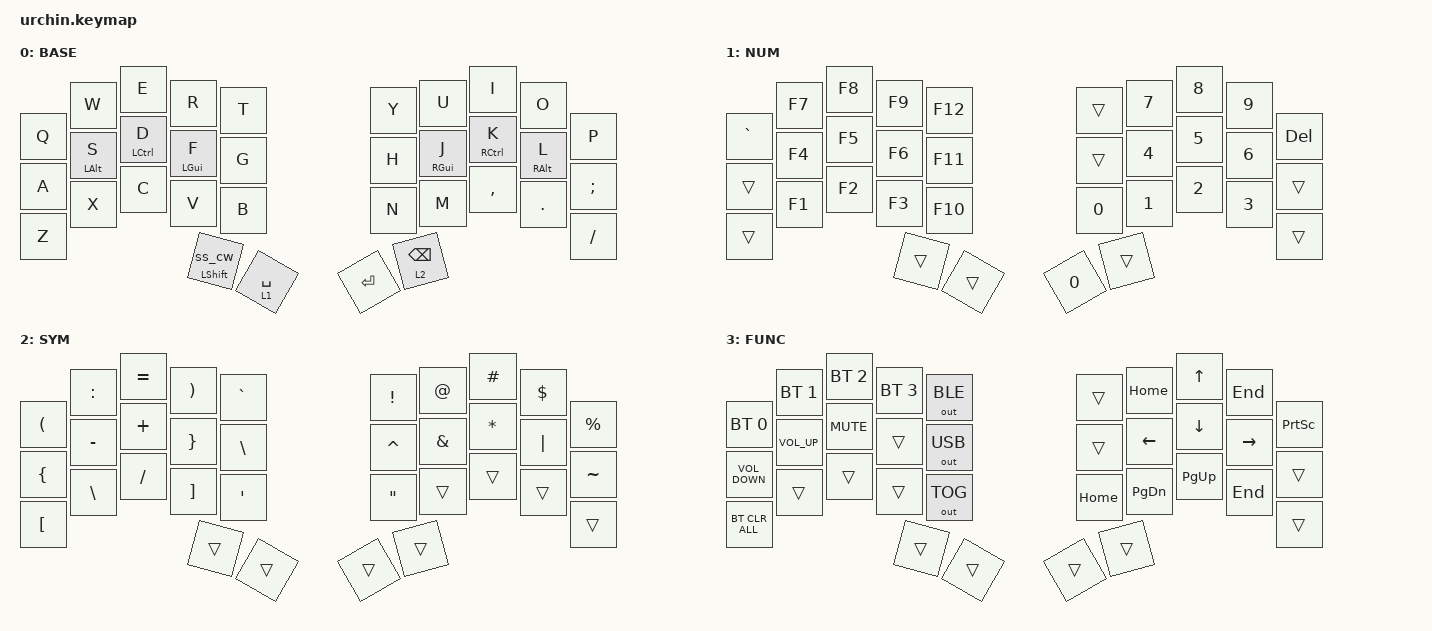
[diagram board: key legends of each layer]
#include <behaviors.dtsi>
#include <dt-bindings/zmk/bt.h>
#include <dt-bindings/zmk/keys.h>
#include <dt-bindings/zmk/outputs.h>

#define BASE 0
#define NAV  1
#define SYM  2
#define ADJ  3

// ─── Key position map ────────────────────────────────────────────────────────
// Row 0: 0   1   2   3   4       5   6   7   8   9
// Row 1: 10  11  12  13  14      15  16  17  18  19
// Row 2: 20  21  22  23  24      25  26  27  28  29
// Row 3:             30  31      32  33
//
// Left-hand keys  (used as hold-trigger for RIGHT homerow mods):

#define LKEYS  0 1 2 3 4 10 11 12 13 14 20 21 22 23 24 30 31

// Right-hand keys (used as hold-trigger for LEFT homerow mods):

#define RKEYS  5 6 7 8 9 15 16 17 18 19 25 26 27 28 29 32 33

&mt {
    quick-tap-ms = <175>;
    require-prior-idle-ms = <150>;
    flavor = "balanced";
    hold-trigger-on-release;
};

/ {
    behaviors {
        // ── Left-hand homerow mod ──────────────────────────────────────────

        hml: homerow_mod_left {
            compatible = "zmk,behavior-hold-tap";
            #binding-cells = <2>;
            flavor = "balanced";
            tapping-term-ms = <280>;
            quick-tap-ms = <175>;
            require-prior-idle-ms = <150>;
            bindings = <&kp>, <&kp>;

            hold-trigger-key-positions = <RKEYS>;
            hold-trigger-on-release;
        };

        // ── Right-hand homerow mod ─────────────────────────────────────────

        hmr: homerow_mod_right {
            compatible = "zmk,behavior-hold-tap";
            #binding-cells = <2>;
            flavor = "balanced";
            tapping-term-ms = <280>;
            quick-tap-ms = <175>;
            require-prior-idle-ms = <150>;
            bindings = <&kp>, <&kp>;

            hold-trigger-key-positions = <LKEYS>;
            hold-trigger-on-release;
        };

        ss_cw: shift_caps_word {
            compatible = "zmk,behavior-mod-morph";
            #binding-cells = <0>;
            bindings = <&sk LSHFT>, <&caps_word>;

            mods = <(MOD_LSFT|MOD_RSFT)>;
        };

        sft_cw: shift_capsword_ht {
            compatible = "zmk,behavior-hold-tap";
            #binding-cells = <2>;
            flavor = "balanced";
            tapping-term-ms = <200>;
            bindings = <&kp>, <&ss_cw>;
        };
    };

    conditional_layers {
        compatible = "zmk,conditional-layers";

        func {
            if-layers = <1 2>;
            then-layer = <3>;
        };
    };

    combos {
        compatible = "zmk,combos";

        esc {
            timeout-ms = <50>;
            key-positions = <16 17>;
            bindings = <&kp ESC>;
        };

        bootloader {
            bindings = <&bootloader>;
            key-positions = <2 3 4 5 6 7>;
        };

        tab {
            bindings = <&kp TAB>;
            key-positions = <13 12>;
        };

        copy {
            bindings = <&kp LC(C)>;
            key-positions = <21 22>;
        };

        paste {
            bindings = <&kp LC(V)>;
            key-positions = <22 23>;
        };

        enter {
            bindings = <&kp ENTER>;
            key-positions = <18 19>;
        };

        reset {
            bindings = <&sys_reset>;
            key-positions = <0 1 8 9>;
        };
    };

    keymap {
        compatible = "zmk,keymap";

        // ▄▄▄▄▄▄▄▄▄▄▄▄▄▄▄▄▄▄▄▄▄▄▄▄▄▄▄▄▄▄▄▄▄▄▄▄▄▄▄▄▄▄▄▄▄▄▄▄▄▄▄▄▄▄▄▄▄▄▄▄▄▄▄▄▄▄▄▄▄▄▄▄▄▄▄▄▄▄▄▄▄▄▄▄▄▄▄▄▄▄▄▄▄▄▄▄▄▄▄▄▄▄▄▄▄▄▄▄▄▄▄▄▄▄▄▄▄▄▄▄▄▄▄▄▄▄▄▄▄▄▄▄▄▄▄▄▄▄▄▄▄▄▄▄▄▄▄▄▄

        base {
            label = "BASE";
            bindings = <
&kp Q  &kp W        &kp E         &kp R                 &kp T        &kp Y      &kp U             &kp I         &kp O        &kp P
&kp A  &hml LALT S  &hml LCTRL D  &hml LEFT_GUI F       &kp G        &kp H      &hmr RIGHT_GUI J  &hmr RCTRL K  &hmr RALT L  &kp SEMI
&kp Z  &kp X        &kp C         &kp V                 &kp B        &kp N      &kp M             &kp COMMA     &kp DOT      &kp FSLH
                                  &sft_cw LEFT_SHIFT 0  &lt 1 SPACE  &kp ENTER  &lt 2 BACKSPACE
            >;
        };

        num {
            label = "NUM";
            bindings = <
&kp GRAVE  &kp F7  &kp F8  &kp F9  &kp F12  &trans  &kp N7        &kp N8        &kp N9        &kp DELETE
&trans     &kp F4  &kp F5  &kp F6  &kp F11  &trans  &kp NUMBER_4  &kp N5        &kp NUMBER_6  &trans
&trans     &kp F1  &kp F2  &kp F3  &kp F10  &kp N0  &kp NUMBER_1  &kp NUMBER_2  &kp NUMBER_3  &trans
                           &trans  &trans   &kp N0  &trans
            >;
        };

        sym {
            label = "SYM";
            bindings = <
&kp LEFT_PARENTHESIS  &kp COLON      &kp EQUAL  &kp RIGHT_PARENTHESIS  &kp GRAVE         &kp EXCLAMATION    &kp AT_SIGN    &kp HASH      &kp DOLLAR  &kp PERCENT
&kp LEFT_BRACE        &kp MINUS      &kp PLUS   &kp RIGHT_BRACE        &kp BACKSLASH     &kp CARET          &kp AMPERSAND  &kp ASTERISK  &kp PIPE    &kp TILDE
&kp LEFT_BRACKET      &kp BACKSLASH  &kp SLASH  &kp RIGHT_BRACKET      &kp SINGLE_QUOTE  &kp DOUBLE_QUOTES  &trans         &trans        &trans      &trans
                                                &trans                 &trans            &trans             &trans
            >;
        };

        func {
            label = "FUNC";
            bindings = <
&bt BT_SEL 0       &bt BT_SEL 1     &bt BT_SEL 2  &bt BT_SEL 3  &out OUT_BLE  &trans    &kp HOME        &kp UP_ARROW  &kp END          &kp PRINTSCREEN
&kp C_VOLUME_DOWN  &kp C_VOLUME_UP  &kp C_MUTE    &trans        &out OUT_USB  &trans    &kp LEFT_ARROW  &kp DOWN      &kp RIGHT_ARROW  &trans
&bt BT_CLR_ALL     &trans           &trans        &trans        &out OUT_TOG  &kp HOME  &kp PAGE_DOWN   &kp PAGE_UP   &kp END          &trans
                                                  &trans        &trans        &trans    &trans
            >;
        };
    };
};
